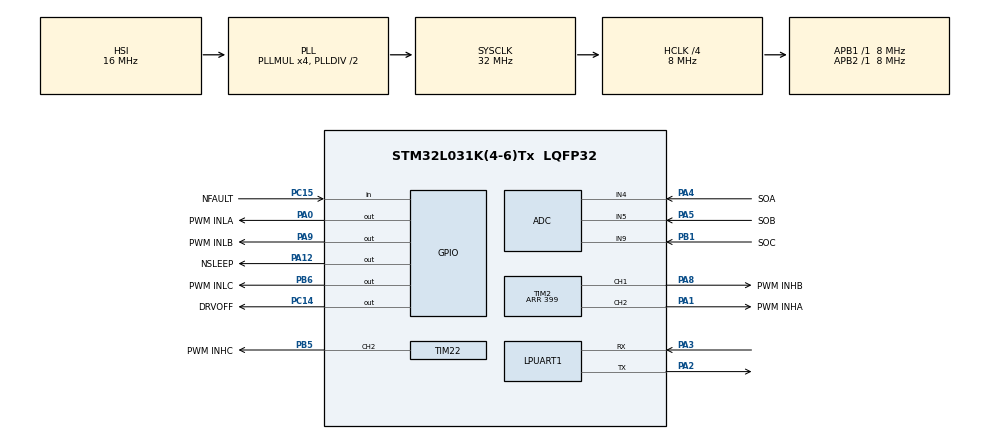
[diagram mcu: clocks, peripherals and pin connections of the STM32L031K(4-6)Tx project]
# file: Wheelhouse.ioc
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Mcu.Family=STM32L0
Mcu.Name=STM32L031K(4-6)Tx
Mcu.Package=LQFP32
PA0-CK_IN.GPIO_Label=PWM INLA
PA0-CK_IN.Signal=GPIO_Output
PA1.GPIO_Label=PWM INHA
PA1.Signal=S_TIM2_CH2
PA12.GPIO_Label=NSLEEP
PA12.Signal=GPIO_Output
PA13.Mode=Serial_Wire
PA13.Signal=SYS_SWDIO
PA14.Mode=Serial_Wire
PA14.Signal=SYS_SWCLK
PA2.Mode=Asynchronous
PA2.Signal=LPUART1_TX
PA3.Mode=Asynchronous
PA3.Signal=LPUART1_RX
PA4.GPIO_Label=SOA
PA4.Mode=IN4
PA4.Signal=ADC_IN4
PA5.GPIO_Label=SOB
PA5.Mode=IN5
PA5.Signal=ADC_IN5
PA6.GPIO_Label=POCI
PA6.Signal=SPI1_MISO
PA7.GPIO_Label=PICO
PA7.Signal=SPI1_MOSI
PA8.GPIO_Label=PWM INHB
PA8.Signal=S_TIM2_CH1
PA9.GPIO_Label=PWM INLB
PA9.Signal=GPIO_Output
PB1.GPIO_Label=SOC
PB1.Mode=IN9
PB1.Signal=ADC_IN9
PB5.GPIO_Label=PWM INHC
PB5.Signal=S_TIM22_CH2
PB6.GPIO_Label=PWM INLC
PB6.Signal=GPIO_Output
PC14-OSC32_IN.GPIO_Label=DRVOFF
PC14-OSC32_IN.Signal=GPIO_Output
PC15-OSC32_OUT.GPIO_Label=NFAULT
PC15-OSC32_OUT.Signal=GPIO_Input
ProjectManager.HeapSize=0x200
ProjectManager.StackSize=0x400
ProjectManager.TargetToolchain=STM32CubeIDE
RCC.AHBCLKDivider=RCC_SYSCLK_DIV4
RCC.AHBFreq_Value=8000000
RCC.APB1Freq_Value=8000000
RCC.APB1TimFreq_Value=8000000
RCC.APB2Freq_Value=8000000
RCC.APB2TimFreq_Value=8000000
RCC.HCLKFreq_Value=8000000
RCC.HSE_VALUE=8000000
RCC.HSI16_VALUE=16000000
RCC.HSI_VALUE=16000000
RCC.LSE_VALUE=32768
RCC.MSI_VALUE=2097000
RCC.PLLMUL=RCC_PLLMUL_4
RCC.SYSCLKFreq_VALUE=32000000
RCC.SYSCLKSource=RCC_SYSCLKSOURCE_PLLCLK
RCC.VCOOutputFreq_Value=64000000
SH.S_TIM22_CH2.0=TIM22_CH2,PWM Generation2 CH2
SH.S_TIM2_CH1.0=TIM2_CH1,PWM Generation1 CH1
SH.S_TIM2_CH2.0=TIM2_CH2,PWM Generation2 CH2
TIM2.Channel-PWM\ Generation1\ CH1=TIM_CHANNEL_1
TIM2.Channel-PWM\ Generation2\ CH2=TIM_CHANNEL_2
TIM2.Period=399
TIM2.TIM_MasterOutputTrigger=TIM_TRGO_UPDATE
TIM2.TIM_MasterSlaveMode=TIM_MASTERSLAVEMODE_ENABLE
TIM22.Channel-PWM\ Generation2\ CH2=TIM_CHANNEL_2
TIM22.Period=399
TIM22.TIM_MasterSlaveMode=TIM_MASTERSLAVEMODE_DISABLE
VP_TIM22_VS_ClockSourceINT.Mode=Internal
VP_TIM22_VS_ClockSourceITR.Mode=TriggerSource_ITR1
VP_TIM22_VS_ControllerModeTrigger.Mode=Trigger Mode
VP_TIM2_VS_ClockSourceINT.Mode=Internal
board=custom

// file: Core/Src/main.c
/* USER CODE BEGIN Header */
/**
  ******************************************************************************
  * @file           : main.c
  * @brief          : Main program body
  ******************************************************************************
  * @attention
  *
  * Copyright (c) 2025 STMicroelectronics.
  * All rights reserved.
  *
  * This software is licensed under terms that can be found in the LICENSE file
  * in the root directory of this software component.
  * If no LICENSE file comes with this software, it is provided AS-IS.
  *
  ******************************************************************************
  */
/* USER CODE END Header */
#include "main.h"

/* USER CODE BEGIN Includes */
#include <stdio.h> // Include stdio library
#include <string.h> // Include string library
#include <math.h> // Include math library

/* USER CODE END Includes */

/* USER CODE BEGIN PD */
static uint8_t serial_string[50] = "";
float theta = 0.0f; // electrical angle
float freq = 5.0f; // Speed of the motor
float Ts = 1.0f; // Time step - should be roughly the same as the delay time...

float dutyA;
float dutyB;
float dutyC;

uint32_t compareA;
uint32_t compareB;
uint32_t compareC;

uint32_t period;
/* USER CODE END PD */

ADC_HandleTypeDef hadc;

UART_HandleTypeDef hlpuart1;

TIM_HandleTypeDef htim2;
TIM_HandleTypeDef htim22;

void SystemClock_Config(void);
static void MX_GPIO_Init(void);
static void MX_TIM2_Init(void);
static void MX_TIM22_Init(void);
static void MX_LPUART1_UART_Init(void);
static void MX_ADC_Init(void);

int main(void)
{

  /* MCU Configuration--------------------------------------------------------*/

  /* Reset of all peripherals, Initializes the Flash interface and the Systick. */
  HAL_Init();

  /* Configure the system clock */
  SystemClock_Config();

  /* Initialize all configured peripherals */
  MX_GPIO_Init();
  MX_TIM2_Init();
  MX_TIM22_Init();
  MX_LPUART1_UART_Init();
  MX_ADC_Init();

  /* Infinite loop */
  /* USER CODE BEGIN WHILE */

  // Check the contents of the driver control register
  sprintf((char *)serial_string, "Hello From Wheelhouse!\r\n");
  HAL_UART_Transmit(&hlpuart1, serial_string, strlen(serial_string), 10); // Write the buffer to the serial interface using UART protocol

  // TODO: Comment out if running motor
  // Turn driver off
//  HAL_GPIO_WritePin(DRVOFF_GPIO_Port, DRVOFF_Pin, GPIO_PIN_SET);

  // TOOD: Uncomment for running motor
  // Set Low inputs to high. This disables high-Z mode
  HAL_GPIO_WritePin(PWM_INLC_GPIO_Port, PWM_INLC_Pin, GPIO_PIN_RESET);
  HAL_GPIO_WritePin(PWM_INLB_GPIO_Port, PWM_INLB_Pin, GPIO_PIN_RESET);
  HAL_GPIO_WritePin(PWM_INLA_GPIO_Port, PWM_INLA_Pin, GPIO_PIN_RESET);

//  HAL_GPIO_WritePin(PWM_INHC_GPIO_Port, PWM_INHC_Pin, GPIO_PIN_RESET);
//  HAL_GPIO_WritePin(PWM_INHB_GPIO_Port, PWM_INHB_Pin, GPIO_PIN_RESET);
//  HAL_GPIO_WritePin(PWM_INHA_GPIO_Port, PWM_INHA_Pin, GPIO_PIN_RESET);

//  // Start TIM2 PWM channels (master)
//  HAL_TIM_PWM_Start(&htim2, TIM_CHANNEL_1);  // Phase A
//  HAL_TIM_PWM_Start(&htim2, TIM_CHANNEL_2);  // Phase B
//
//  // Start TIM22 PWM channel (slave)
//  HAL_TIM_PWM_Start(&htim22, TIM_CHANNEL_2); // Phase C
  theta = 0.0f;
  period = __HAL_TIM_GET_AUTORELOAD(&htim2);

  // we are using open loop control and incrementing this each iteration to change the duty cycle
  while (1)
  {
    // sprintf((char *)serial_string, "Hello from Wheelhouse!.\r\n");

	// TODO: Comment out if running the motor
    // Testing
//	dutyA = 0.3;
//	dutyB = 0.6;
//	dutyC = 0.9;

	// TODO: Uncomment the next 2 sections if running the motor
    // Open Loop motor control:
	// Since we are using open loop motor control, we increment the electrical
    // angle at the specified speed and assume the motor will keep up
//	theta += 2.0f * M_PI * freq * Ts;

	// Set the duty cycle based on electrical angle
//	dutyA = 0.5f + 0.5f * sinf(theta);
//	dutyB = 0.5f + 0.5f * sinf(theta - 2.094f); // offset by -120 deg
//	dutyC = 0.5f + 0.5f * sinf(theta + 2.094f); // offset by +120 deg

//    compareA = period * dutyA;
//    compareB = period * dutyB;
//    compareC = period * dutyC;

//    __HAL_TIM_SET_COMPARE(&htim2, TIM_CHANNEL_1, compareB); // PWM_INHB
//    __HAL_TIM_SET_COMPARE(&htim2, TIM_CHANNEL_2, compareA); // PWM_INHA
//    __HAL_TIM_SET_COMPARE(&htim22, TIM_CHANNEL_2, compareC); // PWM_INHC

    HAL_Delay(1);

    /* USER CODE END WHILE */

  }
}

void SystemClock_Config(void)
{
  RCC_OscInitTypeDef RCC_OscInitStruct = {0};
  RCC_ClkInitTypeDef RCC_ClkInitStruct = {0};
  RCC_PeriphCLKInitTypeDef PeriphClkInit = {0};

  /** Configure the main internal regulator output voltage
  */
  __HAL_PWR_VOLTAGESCALING_CONFIG(PWR_REGULATOR_VOLTAGE_SCALE1);

  /** Initializes the RCC Oscillators according to the specified parameters
  * in the RCC_OscInitTypeDef structure.
  */
  RCC_OscInitStruct.OscillatorType = RCC_OSCILLATORTYPE_HSI;
  RCC_OscInitStruct.HSIState = RCC_HSI_ON;
  RCC_OscInitStruct.HSICalibrationValue = RCC_HSICALIBRATION_DEFAULT;
  RCC_OscInitStruct.PLL.PLLState = RCC_PLL_ON;
  RCC_OscInitStruct.PLL.PLLSource = RCC_PLLSOURCE_HSI;
  RCC_OscInitStruct.PLL.PLLMUL = RCC_PLLMUL_4;
  RCC_OscInitStruct.PLL.PLLDIV = RCC_PLLDIV_2;
  if (HAL_RCC_OscConfig(&RCC_OscInitStruct) != HAL_OK)
  {
    Error_Handler();
  }

  /** Initializes the CPU, AHB and APB buses clocks
  */
  RCC_ClkInitStruct.ClockType = RCC_CLOCKTYPE_HCLK|RCC_CLOCKTYPE_SYSCLK
                              |RCC_CLOCKTYPE_PCLK1|RCC_CLOCKTYPE_PCLK2;
  RCC_ClkInitStruct.SYSCLKSource = RCC_SYSCLKSOURCE_PLLCLK;
  RCC_ClkInitStruct.AHBCLKDivider = RCC_SYSCLK_DIV4;
  RCC_ClkInitStruct.APB1CLKDivider = RCC_HCLK_DIV1;
  RCC_ClkInitStruct.APB2CLKDivider = RCC_HCLK_DIV1;

  if (HAL_RCC_ClockConfig(&RCC_ClkInitStruct, FLASH_LATENCY_0) != HAL_OK)
  {
    Error_Handler();
  }
  PeriphClkInit.PeriphClockSelection = RCC_PERIPHCLK_LPUART1;
  PeriphClkInit.Lpuart1ClockSelection = RCC_LPUART1CLKSOURCE_PCLK1;
  if (HAL_RCCEx_PeriphCLKConfig(&PeriphClkInit) != HAL_OK)
  {
    Error_Handler();
  }
}

static void MX_ADC_Init(void)
{

  ADC_ChannelConfTypeDef sConfig = {0};

  /** Configure the global features of the ADC (Clock, Resolution, Data Alignment and number of conversion)
  */
  hadc.Instance = ADC1;
  hadc.Init.OversamplingMode = DISABLE;
  hadc.Init.ClockPrescaler = ADC_CLOCK_SYNC_PCLK_DIV2;
  hadc.Init.Resolution = ADC_RESOLUTION_12B;
  hadc.Init.SamplingTime = ADC_SAMPLETIME_1CYCLE_5;
  hadc.Init.ScanConvMode = ADC_SCAN_DIRECTION_FORWARD;
  hadc.Init.DataAlign = ADC_DATAALIGN_RIGHT;
  hadc.Init.ContinuousConvMode = DISABLE;
  hadc.Init.DiscontinuousConvMode = DISABLE;
  hadc.Init.ExternalTrigConvEdge = ADC_EXTERNALTRIGCONVEDGE_NONE;
  hadc.Init.ExternalTrigConv = ADC_SOFTWARE_START;
  hadc.Init.DMAContinuousRequests = DISABLE;
  hadc.Init.EOCSelection = ADC_EOC_SINGLE_CONV;
  hadc.Init.Overrun = ADC_OVR_DATA_PRESERVED;
  hadc.Init.LowPowerAutoWait = DISABLE;
  hadc.Init.LowPowerFrequencyMode = DISABLE;
  hadc.Init.LowPowerAutoPowerOff = DISABLE;
  if (HAL_ADC_Init(&hadc) != HAL_OK)
  {
    Error_Handler();
  }

  /** Configure for the selected ADC regular channel to be converted.
  */
  sConfig.Channel = ADC_CHANNEL_4;
  sConfig.Rank = ADC_RANK_CHANNEL_NUMBER;
  if (HAL_ADC_ConfigChannel(&hadc, &sConfig) != HAL_OK)
  {
    Error_Handler();
  }

  /** Configure for the selected ADC regular channel to be converted.
  */
  sConfig.Channel = ADC_CHANNEL_5;
  if (HAL_ADC_ConfigChannel(&hadc, &sConfig) != HAL_OK)
  {
    Error_Handler();
  }

  /** Configure for the selected ADC regular channel to be converted.
  */
  sConfig.Channel = ADC_CHANNEL_9;
  if (HAL_ADC_ConfigChannel(&hadc, &sConfig) != HAL_OK)
  {
    Error_Handler();
  }

}

static void MX_LPUART1_UART_Init(void)
{

  hlpuart1.Instance = LPUART1;
  hlpuart1.Init.BaudRate = 209700;
  hlpuart1.Init.WordLength = UART_WORDLENGTH_7B;
  hlpuart1.Init.StopBits = UART_STOPBITS_1;
  hlpuart1.Init.Parity = UART_PARITY_NONE;
  hlpuart1.Init.Mode = UART_MODE_TX_RX;
  hlpuart1.Init.HwFlowCtl = UART_HWCONTROL_NONE;
  hlpuart1.Init.OneBitSampling = UART_ONE_BIT_SAMPLE_DISABLE;
  hlpuart1.AdvancedInit.AdvFeatureInit = UART_ADVFEATURE_NO_INIT;
  if (HAL_UART_Init(&hlpuart1) != HAL_OK)
  {
    Error_Handler();
  }

}

static void MX_TIM2_Init(void)
{

  TIM_ClockConfigTypeDef sClockSourceConfig = {0};
  TIM_MasterConfigTypeDef sMasterConfig = {0};
  TIM_OC_InitTypeDef sConfigOC = {0};

  htim2.Instance = TIM2;
  htim2.Init.Prescaler = 0;
  htim2.Init.CounterMode = TIM_COUNTERMODE_UP;
  htim2.Init.Period = 399;
  htim2.Init.ClockDivision = TIM_CLOCKDIVISION_DIV1;
  htim2.Init.AutoReloadPreload = TIM_AUTORELOAD_PRELOAD_DISABLE;
  if (HAL_TIM_Base_Init(&htim2) != HAL_OK)
  {
    Error_Handler();
  }
  sClockSourceConfig.ClockSource = TIM_CLOCKSOURCE_INTERNAL;
  if (HAL_TIM_ConfigClockSource(&htim2, &sClockSourceConfig) != HAL_OK)
  {
    Error_Handler();
  }
  if (HAL_TIM_PWM_Init(&htim2) != HAL_OK)
  {
    Error_Handler();
  }
  sMasterConfig.MasterOutputTrigger = TIM_TRGO_UPDATE;
  sMasterConfig.MasterSlaveMode = TIM_MASTERSLAVEMODE_ENABLE;
  if (HAL_TIMEx_MasterConfigSynchronization(&htim2, &sMasterConfig) != HAL_OK)
  {
    Error_Handler();
  }
  sConfigOC.OCMode = TIM_OCMODE_PWM1;
  sConfigOC.Pulse = 0;
  sConfigOC.OCPolarity = TIM_OCPOLARITY_HIGH;
  sConfigOC.OCFastMode = TIM_OCFAST_DISABLE;
  if (HAL_TIM_PWM_ConfigChannel(&htim2, &sConfigOC, TIM_CHANNEL_1) != HAL_OK)
  {
    Error_Handler();
  }
  if (HAL_TIM_PWM_ConfigChannel(&htim2, &sConfigOC, TIM_CHANNEL_2) != HAL_OK)
  {
    Error_Handler();
  }
  HAL_TIM_MspPostInit(&htim2);

}

static void MX_TIM22_Init(void)
{

  TIM_ClockConfigTypeDef sClockSourceConfig = {0};
  TIM_SlaveConfigTypeDef sSlaveConfig = {0};
  TIM_MasterConfigTypeDef sMasterConfig = {0};
  TIM_OC_InitTypeDef sConfigOC = {0};

  htim22.Instance = TIM22;
  htim22.Init.Prescaler = 0;
  htim22.Init.CounterMode = TIM_COUNTERMODE_UP;
  htim22.Init.Period = 399;
  htim22.Init.ClockDivision = TIM_CLOCKDIVISION_DIV1;
  htim22.Init.AutoReloadPreload = TIM_AUTORELOAD_PRELOAD_DISABLE;
  if (HAL_TIM_Base_Init(&htim22) != HAL_OK)
  {
    Error_Handler();
  }
  sClockSourceConfig.ClockSource = TIM_CLOCKSOURCE_INTERNAL;
  if (HAL_TIM_ConfigClockSource(&htim22, &sClockSourceConfig) != HAL_OK)
  {
    Error_Handler();
  }
  if (HAL_TIM_PWM_Init(&htim22) != HAL_OK)
  {
    Error_Handler();
  }
  sSlaveConfig.SlaveMode = TIM_SLAVEMODE_TRIGGER;
  sSlaveConfig.InputTrigger = TIM_TS_ITR1;
  if (HAL_TIM_SlaveConfigSynchro(&htim22, &sSlaveConfig) != HAL_OK)
  {
    Error_Handler();
  }
  sMasterConfig.MasterOutputTrigger = TIM_TRGO_RESET;
  sMasterConfig.MasterSlaveMode = TIM_MASTERSLAVEMODE_DISABLE;
  if (HAL_TIMEx_MasterConfigSynchronization(&htim22, &sMasterConfig) != HAL_OK)
  {
    Error_Handler();
  }
  sConfigOC.OCMode = TIM_OCMODE_PWM1;
  sConfigOC.Pulse = 0;
  sConfigOC.OCPolarity = TIM_OCPOLARITY_HIGH;
  sConfigOC.OCFastMode = TIM_OCFAST_DISABLE;
  if (HAL_TIM_PWM_ConfigChannel(&htim22, &sConfigOC, TIM_CHANNEL_2) != HAL_OK)
  {
    Error_Handler();
  }
  HAL_TIM_MspPostInit(&htim22);

}

static void MX_GPIO_Init(void)
{
  GPIO_InitTypeDef GPIO_InitStruct = {0};

  /* GPIO Ports Clock Enable */
  __HAL_RCC_GPIOC_CLK_ENABLE();
  __HAL_RCC_GPIOA_CLK_ENABLE();
  __HAL_RCC_GPIOB_CLK_ENABLE();

  /*Configure GPIO pin Output Level */
  HAL_GPIO_WritePin(DRVOFF_GPIO_Port, DRVOFF_Pin, GPIO_PIN_RESET);

  /*Configure GPIO pin Output Level */
  HAL_GPIO_WritePin(GPIOA, PWM_INLA_Pin|PWM_INLB_Pin|NSLEEP_Pin, GPIO_PIN_RESET);

  /*Configure GPIO pin Output Level */
  HAL_GPIO_WritePin(PWM_INLC_GPIO_Port, PWM_INLC_Pin, GPIO_PIN_RESET);

  /*Configure GPIO pin : DRVOFF_Pin */
  GPIO_InitStruct.Pin = DRVOFF_Pin;
  GPIO_InitStruct.Mode = GPIO_MODE_OUTPUT_PP;
  GPIO_InitStruct.Pull = GPIO_NOPULL;
  GPIO_InitStruct.Speed = GPIO_SPEED_FREQ_LOW;
  HAL_GPIO_Init(DRVOFF_GPIO_Port, &GPIO_InitStruct);

  /*Configure GPIO pin : NFAULT_Pin */
  GPIO_InitStruct.Pin = NFAULT_Pin;
  GPIO_InitStruct.Mode = GPIO_MODE_INPUT;
  GPIO_InitStruct.Pull = GPIO_NOPULL;
  HAL_GPIO_Init(NFAULT_GPIO_Port, &GPIO_InitStruct);

  /*Configure GPIO pins : PWM_INLA_Pin PWM_INLB_Pin NSLEEP_Pin */
  GPIO_InitStruct.Pin = PWM_INLA_Pin|PWM_INLB_Pin|NSLEEP_Pin;
  GPIO_InitStruct.Mode = GPIO_MODE_OUTPUT_PP;
  GPIO_InitStruct.Pull = GPIO_NOPULL;
  GPIO_InitStruct.Speed = GPIO_SPEED_FREQ_LOW;
  HAL_GPIO_Init(GPIOA, &GPIO_InitStruct);

  /*Configure GPIO pins : POCI_Pin PICO_Pin */
  GPIO_InitStruct.Pin = POCI_Pin|PICO_Pin;
  GPIO_InitStruct.Mode = GPIO_MODE_AF_PP;
  GPIO_InitStruct.Pull = GPIO_NOPULL;
  GPIO_InitStruct.Speed = GPIO_SPEED_FREQ_VERY_HIGH;
  GPIO_InitStruct.Alternate = GPIO_AF0_SPI1;
  HAL_GPIO_Init(GPIOA, &GPIO_InitStruct);

  /*Configure GPIO pin : PWM_INLC_Pin */
  GPIO_InitStruct.Pin = PWM_INLC_Pin;
  GPIO_InitStruct.Mode = GPIO_MODE_OUTPUT_PP;
  GPIO_InitStruct.Pull = GPIO_NOPULL;
  GPIO_InitStruct.Speed = GPIO_SPEED_FREQ_LOW;
  HAL_GPIO_Init(PWM_INLC_GPIO_Port, &GPIO_InitStruct);

}

void Error_Handler(void)
{
  __disable_irq();
  while (1)
  {
  }
}
